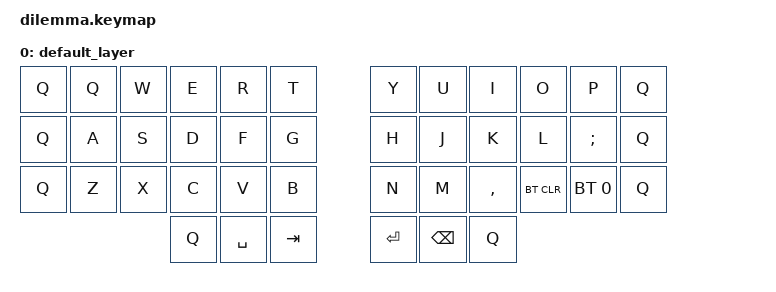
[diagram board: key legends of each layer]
/*
 * Copyright (c) 2020 ZMK Contributors
 *
 * SPDX-License-Identifier: MIT
 */


#include <behaviors.dtsi>
#include <dt-bindings/zmk/keys.h>
#include <dt-bindings/zmk/bt.h>

/ {
	keymap {
		compatible = "zmk,keymap";

		default_layer {
// --------------------------------------------------------------------------------------------
// |  Q  |  W  |  E   |  R   |  T   |                   |  Y   |  U    |  I    |  O   |   P   |
// |  A  |  S  |  D   |  F   |  G   |                   |  H   |  J    |  K    |  L   |   ;   |
// |  Z  |  X  |  C   |  V   |  B   |                   |  N   |  M    |  ,    | CLR  | SEL 0 |
//                    | SPCE | TAB  |                   | ENTR | BKSP  |
			bindings = <
&kp Q &kp Q     &kp W    &kp E     &kp R     &kp T                     &kp Y     &kp U    &kp I     &kp O     &kp P         &kp Q
&kp Q &kp A     &kp S    &kp D     &kp F     &kp G                     &kp H     &kp J    &kp K     &kp L     &kp SEMI      &kp Q
&kp Q &kp Z     &kp X    &kp C     &kp V     &kp B                     &kp N     &kp M    &kp COMMA &bt BT_CLR &bt BT_SEL 0 &kp Q 
                          &kp Q &kp SPACE &kp TAB                   &kp ENTER &kp BKSP &kp Q
			>;
		};
	};
};
